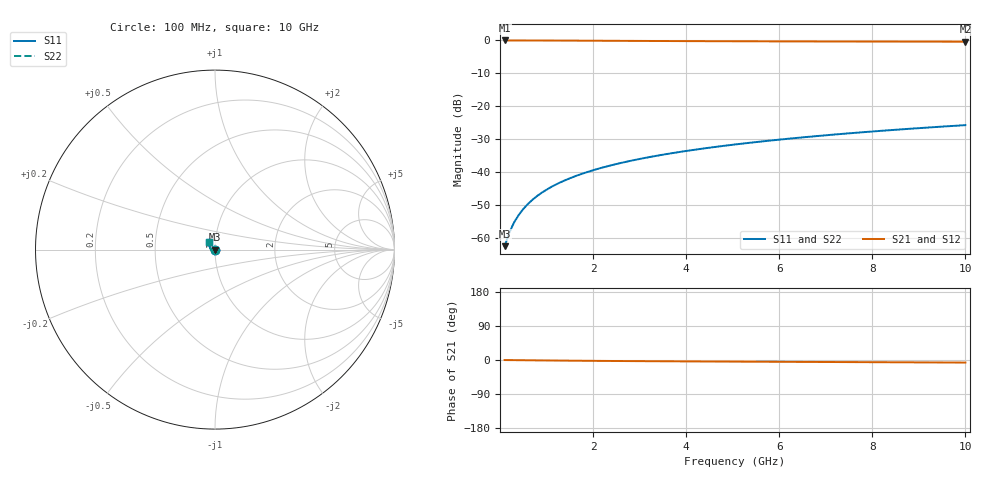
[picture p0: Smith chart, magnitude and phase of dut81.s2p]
! Touchstone file exported from HFSS 2024.1.0
!  File:  C:/UserFiles/LocalFiles/RDL_TSV_Batchsim/temp_TSV1_81_1779375003.aedt
!  Generated:  11:02:34 PM May 21, 2026
!  Design:  TSV1
!  Project:  temp_TSV1_81_1779375003
!  Setup:  Setup1
!  Solution:  Sweep
! Variables:
!  dtsv = 5.48um
!  hbump = 3um
!  htsv = 98.01um
!  lrdl = 252.1521522um
!  p = 40
!  p1 = 58.98um
!  t = 500um
!  trdl = 3um
!  wrdl = 24.89489489um
# GHz S MA R 50.000000
! Terminal data exported
! Port[1] = TSV22_T1
! Port[2] = TSV22_T2
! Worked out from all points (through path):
!   100 points, 100 MHz to 10 GHz, reference 50 ohm
!   highest |S21| = 0.00 dB at 100 MHz (marker M1); lowest = -0.4 dB at 10 GHz (marker M2)
!   lowest |S11| = -62.5 dB at 100 MHz (marker M3), VSWR 1.00, Z = 50.1 - j0.0558 ohm
!   |S11| at or under -10 dB: start of sweep to end of sweep
!   |S22| runs from -62.5 to -25.7 dB; largest |S21 - S12| = 6.2e-15
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0.1  0.000753 -47.7  0.9994 -0.1  0.9994 -0.1  0.000753 -47.7
! Gamma 0 0 0 0
! Port Impedance 50 0 50 0
0.2  0.001204 -69.2  0.9993 -0.2  0.9993 -0.2  0.001204 -69.2
0.3  0.001707 -80.2  0.9992 -0.4  0.9992 -0.4  0.001707 -80.2
0.4  0.002228 -87.5  0.999 -0.5  0.999 -0.5  0.002228 -87.5
0.5  0.002756 -93.1  0.9987 -0.6  0.9987 -0.6  0.002756 -93.1
0.6  0.003288 -97.7  0.9984 -0.7  0.9984 -0.7  0.003288 -97.7
0.7  0.00382 -101.9  0.9981 -0.9  0.9981 -0.9  0.00382 -101.9
0.9  0.004887 -109.2  0.9973 -1.1  0.9973 -1.1  0.004887 -109.2
1  0.00542 -112.6  0.9968 -1.2  0.9968 -1.2  0.00542 -112.6
1.2  0.006483 -118.9  0.9957 -1.4  0.9957 -1.4  0.006483 -118.9
1.5  0.008071 -127.6  0.9939 -1.7  0.9939 -1.7  0.008071 -127.6
1.8  0.009649 -135.7  0.9919 -2.0  0.9919 -2.0  0.009649 -135.7
2.1  0.01122 -143.1  0.9897 -2.3  0.9897 -2.3  0.01122 -143.1
2.5  0.01329 -152.3  0.9868 -2.6  0.9868 -2.6  0.01329 -152.3
2.9  0.01535 -160.6  0.9839 -2.9  0.9839 -2.9  0.01535 -160.6
3.4  0.01791 -169.9  0.9805 -3.3  0.9805 -3.3  0.01791 -169.9
4.2  0.022 177.4  0.9757 -3.8  0.9757 -3.8  0.022 177.4
5.1  0.02659 165.8  0.9712 -4.3  0.9712 -4.3  0.02659 165.8
5.9  0.03068 157.3  0.9679 -4.7  0.9679 -4.7  0.03068 157.3
6.7  0.03478 150.2  0.9652 -5.1  0.9652 -5.1  0.03478 150.2
8.4  0.04352 138.3  0.9609 -6.0  0.9609 -6.0  0.04352 138.3
10  0.05176 129.9  0.9579 -6.8  0.9579 -6.8  0.05176 129.9
